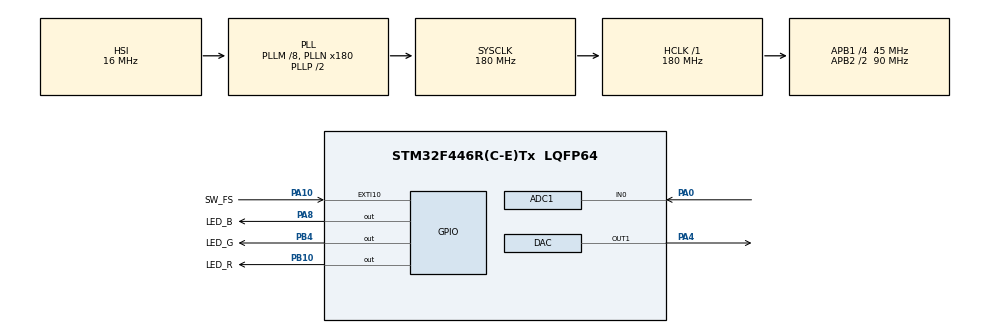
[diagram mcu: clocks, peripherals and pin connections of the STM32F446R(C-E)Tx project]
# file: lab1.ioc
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ADC1.Channel-0\#ChannelRegularConversion=ADC_CHANNEL_0
ADC1.DMAContinuousRequests=ENABLE
ADC1.ExternalTrigConv=ADC_EXTERNALTRIGCONV_T2_TRGO
ADC1.InjNumberOfConversion=0
ADC1.NbrOfConversionFlag=1
ADC1.Rank-0\#ChannelRegularConversion=1
ADC1.SamplingTime-0\#ChannelRegularConversion=ADC_SAMPLETIME_3CYCLES
ADC1.master=1
DAC.DAC_OutputBuffer=DAC_OUTPUTBUFFER_ENABLE
DAC.DAC_Trigger=DAC_TRIGGER_T2_TRGO
Dma.ADC1.0.Direction=DMA_PERIPH_TO_MEMORY
Dma.ADC1.0.FIFOMode=DMA_FIFOMODE_DISABLE
Dma.ADC1.0.Instance=DMA2_Stream0
Dma.ADC1.0.MemDataAlignment=DMA_MDATAALIGN_HALFWORD
Dma.ADC1.0.MemInc=DMA_MINC_ENABLE
Dma.ADC1.0.Mode=DMA_CIRCULAR
Dma.ADC1.0.PeriphDataAlignment=DMA_PDATAALIGN_HALFWORD
Dma.ADC1.0.PeriphInc=DMA_PINC_DISABLE
Dma.ADC1.0.Priority=DMA_PRIORITY_HIGH
Dma.DAC1.1.Direction=DMA_MEMORY_TO_PERIPH
Dma.DAC1.1.FIFOMode=DMA_FIFOMODE_DISABLE
Dma.DAC1.1.Instance=DMA1_Stream5
Dma.DAC1.1.MemDataAlignment=DMA_MDATAALIGN_HALFWORD
Dma.DAC1.1.MemInc=DMA_MINC_ENABLE
Dma.DAC1.1.Mode=DMA_CIRCULAR
Dma.DAC1.1.PeriphDataAlignment=DMA_PDATAALIGN_HALFWORD
Dma.DAC1.1.PeriphInc=DMA_PINC_DISABLE
Dma.DAC1.1.Priority=DMA_PRIORITY_HIGH
Dma.Request0=ADC1
Dma.Request1=DAC1
Mcu.Family=STM32F4
Mcu.Name=STM32F446R(C-E)Tx
Mcu.Package=LQFP64
NVIC.DMA1_Stream5_IRQn=true\:0\:0\:false\:false\:true\:false\:true\:true
NVIC.DMA2_Stream0_IRQn=true\:0\:0\:false\:false\:true\:false\:true\:true
NVIC.EXTI15_10_IRQn=true\:0\:0\:false\:false\:true\:true\:true\:true
NVIC.PriorityGroup=NVIC_PRIORITYGROUP_0
PA0-WKUP.Signal=ADCx_IN0
PA10.GPIO_Label=SW_FS
PA10.GPIO_ModeDefaultEXTI=GPIO_MODE_IT_FALLING
PA10.GPIO_PuPd=GPIO_PULLUP
PA10.Signal=GPXTI10
PA13.GPIO_Label=TMS
PA13.Mode=Serial_Wire
PA13.Signal=SYS_JTMS-SWDIO
PA14.GPIO_Label=TCK
PA14.Mode=Serial_Wire
PA14.Signal=SYS_JTCK-SWCLK
PA4.Signal=COMP_DAC1_group
PA8.GPIO_Label=LED_B
PA8.Signal=GPIO_Output
PB10.GPIO_Label=LED_R
PB10.Signal=GPIO_Output
PB3.GPIO_Label=SWO
PB3.Signal=SYS_JTDO-SWO
PB4.GPIO_Label=LED_G
PB4.Signal=GPIO_Output
PC14-OSC32_IN.Mode=LSE-External-Oscillator
PC14-OSC32_IN.Signal=RCC_OSC32_IN
PC15-OSC32_OUT.Mode=LSE-External-Oscillator
PC15-OSC32_OUT.Signal=RCC_OSC32_OUT
PH0-OSC_IN.Mode=HSE-External-Oscillator
PH0-OSC_IN.Signal=RCC_OSC_IN
PH1-OSC_OUT.Mode=HSE-External-Oscillator
PH1-OSC_OUT.Signal=RCC_OSC_OUT
ProjectManager.HeapSize=0x200
ProjectManager.StackSize=0x400
ProjectManager.TargetToolchain=STM32CubeIDE
RCC.48MHZClocksFreq_Value=84000000
RCC.AHBFreq_Value=180000000
RCC.APB1CLKDivider=RCC_HCLK_DIV4
RCC.APB1Freq_Value=45000000
RCC.APB1TimFreq_Value=90000000
RCC.APB2CLKDivider=RCC_HCLK_DIV2
RCC.APB2Freq_Value=90000000
RCC.APB2TimFreq_Value=180000000
RCC.CortexFreq_Value=180000000
RCC.FLatency-AdvancedSettings=FLASH_LATENCY_5
RCC.HCLKFreq_Value=180000000
RCC.HSE_VALUE=8000000
RCC.HSI_VALUE=16000000
RCC.PLLM=8
RCC.PLLN=180
RCC.SYSCLKFreq_VALUE=180000000
RCC.SYSCLKSource=RCC_SYSCLKSOURCE_PLLCLK
RCC.USBFreq_Value=180000000
RCC.VCOOutputFreq_Value=360000000
SH.ADCx_IN0.0=ADC1_IN0,IN0
SH.COMP_DAC1_group.0=DAC_OUT1,DAC_OUT1
TIM2.AutoReloadPreload=TIM_AUTORELOAD_PRELOAD_ENABLE
TIM2.Period=11249
TIM2.TIM_MasterOutputTrigger=TIM_TRGO_UPDATE
VP_TIM2_VS_ClockSourceINT.Mode=Internal
board=NUCLEO-F446RE

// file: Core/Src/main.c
/* USER CODE BEGIN Header */
/**
  ******************************************************************************
  * @file           : main.c
  * @brief          : Main program body
  ******************************************************************************
  * @attention
  *
  * Copyright (c) 2025 STMicroelectronics.
  * All rights reserved.
  *
  * This software is licensed under terms that can be found in the LICENSE file
  * in the root directory of this software component.
  * If no LICENSE file comes with this software, it is provided AS-IS.
  *
  ******************************************************************************
  */
/* USER CODE END Header */
#include "main.h"
#include "adc.h"
#include "dac.h"
#include "dma.h"
#include "tim.h"
#include "gpio.h"

/* USER CODE BEGIN Includes */
#include "arm_math.h" // CMSIS-DSP library for fixed-point processing
/* USER CODE END Includes */

/* USER CODE BEGIN PD */
#define BUFFER_SIZE 512     // Size of ADC/DAC/Q15 buffers
#define FS_8K   11249       // Auto-reload value for TIM2 to achieve ~8kHz sampling with 90 MHz clock
#define DEBOUNCE_DELAY 200	// Time anti-bounce
/* USER CODE END PD */

/* USER CODE BEGIN PV */
extern TIM_HandleTypeDef htim2;      // Timer used for triggering ADC/DAC
extern ADC_HandleTypeDef hadc1;      // ADC handle
extern DAC_HandleTypeDef hdac;       // DAC handle

uint16_t adc_buffer[BUFFER_SIZE];    // Raw ADC samples
uint16_t dac_buffer[BUFFER_SIZE];    // Output buffer for DAC
q15_t q15_buffer[BUFFER_SIZE];       // Intermediate Q15 format buffer
uint8_t fs_mode = 0;                 // Sampling frequency mode selector (0–5)
uint32_t time = 0;                   // Variable to store CPU cycles for processing time profiling
uint32_t last_interrupt_time = 0;    // Time of the last interrupt anti-bouncing
/* USER CODE END PV */

void SystemClock_Config(void);

/* USER CODE BEGIN 0 */

/**
 * @brief Converts a Q15 array to a 12-bit DAC buffer
 * @param in: Input Q15 data array
 * @param out: Output DAC buffer
 * @param len: Number of elements to convert
 */
void convert_q15_to_dac_buffer(q15_t *in, uint16_t *out, uint16_t len) {
	for (uint16_t i = 0; i < len; i++) {
		int32_t val = ((int32_t) in[i] * 4095) / 32767;
		if (val < 0)
			val = 0;
		else if (val > 4095)
			val = 4095;
		out[i] = (uint16_t) (val);
	}
}

/**
 * @brief Processes half of the ADC buffer: converts to Q15, applies processing, and prepares DAC output
 * @param adc_in: Input ADC buffer
 * @param q15_out: Intermediate Q15 buffer
 * @param dac_out: Output DAC buffer
 * @param offset: Offset to select first or second half of buffer
 */
void process_buffer_half(uint16_t *adc_in, q15_t *q15_out, uint16_t *dac_out, uint16_t offset) {
	uint32_t start = DWT->CYCCNT; // Start cycle counter for performance profiling

	// Convert ADC 12-bit values to Q15 format
	for (uint16_t i = 0; i < BUFFER_SIZE / 2; i++) {
		q15_out[i + offset] = (q15_t)(((int32_t) adc_in[i + offset] * 32767) / 4095);
	}

	// Convert processed Q15 data to DAC output format
	convert_q15_to_dac_buffer(&q15_out[offset], &dac_out[offset], BUFFER_SIZE / 2);
	time = DWT->CYCCNT - start; // Measure processing time in CPU cycles
}

/**
 * @brief DMA Half Transfer Complete Callback for ADC
 */
void HAL_ADC_ConvHalfCpltCallback(ADC_HandleTypeDef *hadc) {
	if (hadc->Instance == ADC1) {
		process_buffer_half(adc_buffer, q15_buffer, dac_buffer, 0);
	}
}

/**
 * @brief DMA Transfer Complete Callback for ADC
 */
void HAL_ADC_ConvCpltCallback(ADC_HandleTypeDef *hadc) {
	if (hadc->Instance == ADC1) {
		process_buffer_half(adc_buffer, q15_buffer, dac_buffer, BUFFER_SIZE / 2);

	}
}

/**
 * @brief GPIO interrupt callback for switching sampling frequencies or stopping acquisition
 *        Cycles through 6 modes on button press (pin: SW_FS)
 */
void HAL_GPIO_EXTI_Callback(uint16_t GPIO_Pin) {

	// Anti-bounce
	 uint32_t current_time = HAL_GetTick();
	 if ((current_time - last_interrupt_time) < DEBOUNCE_DELAY) {
	         return;
	     }
	 last_interrupt_time = current_time;

	if (GPIO_Pin == SW_FS_Pin) {
		fs_mode = (fs_mode + 1) % 6;

		// Stop timer before reconfiguring
		__HAL_TIM_DISABLE(&htim2);

		switch (fs_mode) {
		case 0:
			__HAL_TIM_SET_AUTORELOAD(&htim2, FS_8K);        // 8 kHz
			HAL_GPIO_WritePin(LED_B_GPIO_Port, LED_B_Pin, GPIO_PIN_SET);    // Blue
			HAL_GPIO_WritePin(LED_R_GPIO_Port, LED_R_Pin, GPIO_PIN_RESET);
			HAL_GPIO_WritePin(LED_G_GPIO_Port, LED_G_Pin, GPIO_PIN_RESET);
			break;
		case 1:
			__HAL_TIM_SET_AUTORELOAD(&htim2, FS_8K / 2);    // ~16 kHz
			HAL_GPIO_WritePin(LED_B_GPIO_Port, LED_B_Pin, GPIO_PIN_RESET);
			HAL_GPIO_WritePin(LED_R_GPIO_Port, LED_R_Pin, GPIO_PIN_SET);    // Red
			HAL_GPIO_WritePin(LED_G_GPIO_Port, LED_G_Pin, GPIO_PIN_RESET);
			break;
		case 2:
			__HAL_TIM_SET_AUTORELOAD(&htim2, FS_8K / 3);    // ~22 kHz
			HAL_GPIO_WritePin(LED_B_GPIO_Port, LED_B_Pin, GPIO_PIN_RESET);
			HAL_GPIO_WritePin(LED_R_GPIO_Port, LED_R_Pin, GPIO_PIN_RESET);
			HAL_GPIO_WritePin(LED_G_GPIO_Port, LED_G_Pin, GPIO_PIN_SET);    // Green
			break;
		case 3:
			__HAL_TIM_SET_AUTORELOAD(&htim2, FS_8K / 5);    // ~44 kHz
			HAL_GPIO_WritePin(LED_B_GPIO_Port, LED_B_Pin, GPIO_PIN_RESET);
			HAL_GPIO_WritePin(LED_R_GPIO_Port, LED_R_Pin, GPIO_PIN_SET);    // Red + Green = Yellow
			HAL_GPIO_WritePin(LED_G_GPIO_Port, LED_G_Pin, GPIO_PIN_SET);
			break;
		case 4:
			__HAL_TIM_SET_AUTORELOAD(&htim2, FS_8K / 6);    // ~48 kHz
			HAL_GPIO_WritePin(LED_B_GPIO_Port, LED_B_Pin, GPIO_PIN_SET);    // Blue + Red = Purple
			HAL_GPIO_WritePin(LED_R_GPIO_Port, LED_R_Pin, GPIO_PIN_SET);
			HAL_GPIO_WritePin(LED_G_GPIO_Port, LED_G_Pin, GPIO_PIN_RESET);
			break;
		case 5:
			// Stop all activity
			HAL_GPIO_WritePin(LED_B_GPIO_Port, LED_B_Pin, GPIO_PIN_RESET);    // All off
			HAL_GPIO_WritePin(LED_R_GPIO_Port, LED_R_Pin, GPIO_PIN_RESET);
			HAL_GPIO_WritePin(LED_G_GPIO_Port, LED_G_Pin, GPIO_PIN_RESET);
			__HAL_TIM_DISABLE(&htim2);
			return;
		}

		// Reset and enable timer
		__HAL_TIM_SET_COUNTER(&htim2, 0);
		TIM2->EGR = TIM_EGR_UG;
		__HAL_TIM_ENABLE(&htim2);
	}
}
/* USER CODE END 0 */

int main(void)
{

  /* USER CODE BEGIN 1 */
	// Enable DWT cycle counter for profiling purposes
	CoreDebug->DEMCR |= CoreDebug_DEMCR_TRCENA_Msk;
	DWT->CYCCNT = 0;
	DWT->CTRL |= DWT_CTRL_CYCCNTENA_Msk;
  /* USER CODE END 1 */

  /* MCU Configuration--------------------------------------------------------*/

  /* Reset of all peripherals, Initializes the Flash interface and the Systick. */
  HAL_Init();

  /* Configure the system clock */
  SystemClock_Config();

  /* Initialize all configured peripherals */
  MX_GPIO_Init();
  MX_DMA_Init();
  MX_ADC1_Init();
  MX_TIM2_Init();
  MX_DAC_Init();
  /* USER CODE BEGIN 2 */

	HAL_GPIO_WritePin(LED_B_GPIO_Port, LED_B_Pin, GPIO_PIN_SET);    // Blue
	HAL_GPIO_WritePin(LED_R_GPIO_Port, LED_R_Pin, GPIO_PIN_RESET);
	HAL_GPIO_WritePin(LED_G_GPIO_Port, LED_G_Pin, GPIO_PIN_RESET);

	// Start base timer
	HAL_TIM_Base_Start(&htim2);

	// Start DAC in DMA mode
	HAL_DAC_Start_DMA(&hdac, DAC_CHANNEL_1, (uint32_t*) dac_buffer, BUFFER_SIZE, DAC_ALIGN_12B_R);

	// Start ADC in DMA mode
	HAL_ADC_Start_DMA(&hadc1, (uint32_t*) adc_buffer, BUFFER_SIZE);

  /* USER CODE END 2 */

  /* Infinite loop */
	while (1) {
		__WFI();
    /* USER CODE BEGIN 3 */
		// Main loop intentionally left empty. All processing handled via DMA callbacks and interrupts.
	}
  /* USER CODE END 3 */
}

void SystemClock_Config(void)
{
  RCC_OscInitTypeDef RCC_OscInitStruct = {0};
  RCC_ClkInitTypeDef RCC_ClkInitStruct = {0};

  /** Configure the main internal regulator output voltage
  */
  __HAL_RCC_PWR_CLK_ENABLE();
  __HAL_PWR_VOLTAGESCALING_CONFIG(PWR_REGULATOR_VOLTAGE_SCALE1);

  /** Initializes the RCC Oscillators according to the specified parameters
  * in the RCC_OscInitTypeDef structure.
  */
  RCC_OscInitStruct.OscillatorType = RCC_OSCILLATORTYPE_HSI;
  RCC_OscInitStruct.HSIState = RCC_HSI_ON;
  RCC_OscInitStruct.HSICalibrationValue = RCC_HSICALIBRATION_DEFAULT;
  RCC_OscInitStruct.PLL.PLLState = RCC_PLL_ON;
  RCC_OscInitStruct.PLL.PLLSource = RCC_PLLSOURCE_HSI;
  RCC_OscInitStruct.PLL.PLLM = 8;
  RCC_OscInitStruct.PLL.PLLN = 180;
  RCC_OscInitStruct.PLL.PLLP = RCC_PLLP_DIV2;
  RCC_OscInitStruct.PLL.PLLQ = 2;
  RCC_OscInitStruct.PLL.PLLR = 2;
  if (HAL_RCC_OscConfig(&RCC_OscInitStruct) != HAL_OK)
  {
    Error_Handler();
  }

  /** Activate the Over-Drive mode
  */
  if (HAL_PWREx_EnableOverDrive() != HAL_OK)
  {
    Error_Handler();
  }

  /** Initializes the CPU, AHB and APB buses clocks
  */
  RCC_ClkInitStruct.ClockType = RCC_CLOCKTYPE_HCLK|RCC_CLOCKTYPE_SYSCLK
                              |RCC_CLOCKTYPE_PCLK1|RCC_CLOCKTYPE_PCLK2;
  RCC_ClkInitStruct.SYSCLKSource = RCC_SYSCLKSOURCE_PLLCLK;
  RCC_ClkInitStruct.AHBCLKDivider = RCC_SYSCLK_DIV1;
  RCC_ClkInitStruct.APB1CLKDivider = RCC_HCLK_DIV4;
  RCC_ClkInitStruct.APB2CLKDivider = RCC_HCLK_DIV2;

  if (HAL_RCC_ClockConfig(&RCC_ClkInitStruct, FLASH_LATENCY_5) != HAL_OK)
  {
    Error_Handler();
  }
}

void Error_Handler(void)
{
  /* USER CODE BEGIN Error_Handler_Debug */
	// Stay in infinite loop on error
	__disable_irq();
	while (1) {
	}
  /* USER CODE END Error_Handler_Debug */
}

#ifdef  USE_FULL_ASSERT
/**
  * @brief  Reports the name of the source file and the source line number
  *         where the assert_param error has occurred.
  * @param  file: pointer to the source file name
  * @param  line: assert_param error line source number
  * @retval None
  */
void assert_failed(uint8_t *file, uint32_t line)
{
  /* USER CODE BEGIN 6 */
  // Custom assert handler (optional user-defined implementation)
  /* USER CODE END 6 */
}
#endif /* USE_FULL_ASSERT */
